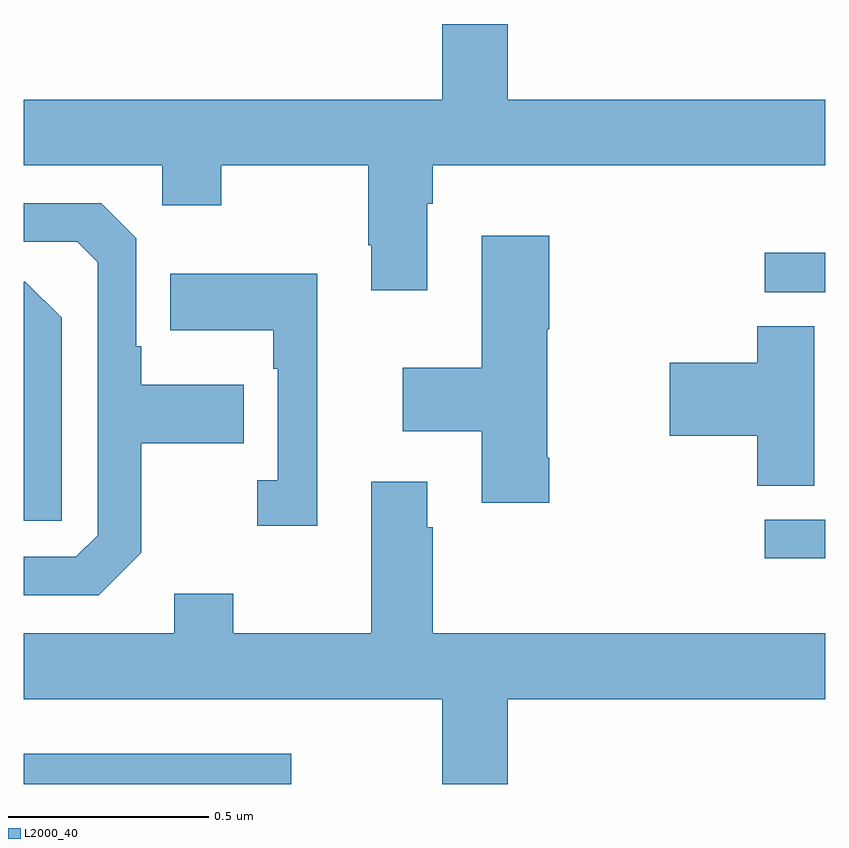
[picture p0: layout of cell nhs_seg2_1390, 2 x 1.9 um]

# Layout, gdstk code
import gdstk
lib = gdstk.Library(unit=1e-6, precision=1e-09)
def R(c, l, rs):  # rectangles x0, y0, x1, y1
    for r in rs: c.add(gdstk.rectangle(r[:2], r[2:], *l))
def P(c, l, *ps):  # polygons
    for p in ps: c.add(gdstk.Polygon(p, *l))
L2000_40 = (2000, 40)

nhs_seg2_1390 = lib.new_cell('nhs_seg2_1390')
R(nhs_seg2_1390, L2000_40, [(128,604.8,128.668,604.876), (129.849,605.364,130,605.46), (129.849,606.027,130,606.126)])
P(nhs_seg2_1390, L2000_40, [(129.007,606.248),(129.02,606.248),(129.02,606.344),(130,606.344),(130,606.508),(129.208,606.508),(129.208,606.697),(129.044,606.697),(129.044,606.508),(128,606.508),(128,606.344),(128.346,606.344),(128.346,606.245),(128.493,606.245),(128.493,606.344),(128.86,606.344),(128.86,606.145),(128.867,606.145),(128.867,606.033),(129.007,606.033)],
  [(128.293,605.377),(128.293,605.65),(128.549,605.65),(128.549,605.797),(128.293,605.797),(128.293,605.893),(128.28,605.893),(128.28,606.162),(128.193,606.249),(128,606.249),(128,606.153),(128.133,606.153),(128.184,606.102),(128.184,605.421),(128.13,605.367),(128,605.367),(128,605.271),(128.187,605.271)],
  [(129.311,605.614),(129.306,605.614),(129.306,605.935),(129.311,605.935),(129.311,606.169),(129.143,606.169),(129.143,605.839),(128.946,605.839),(128.946,605.681),(129.143,605.681),(129.143,605.502),(129.311,605.502)],
  [(128.732,606.073),(128.365,606.073),(128.365,605.933),(128.622,605.933),(128.622,605.837),(128.634,605.837),(128.634,605.558),(128.583,605.558),(128.583,605.445),(128.732,605.445)],
  [(128.094,605.964),(128.004,606.054),(128,606.054),(128,605.457),(128.094,605.457)],
  [(129.973,605.942),(129.83,605.942),(129.83,605.852),(129.612,605.852),(129.612,605.669),(129.83,605.669),(129.83,605.545),(129.973,605.545)],
  [(129.208,605.012),(130,605.012),(130,605.176),(129.02,605.176),(129.02,605.441),(129.007,605.441),(129.007,605.554),(128.867,605.554),(128.867,605.176),(128.523,605.176),(128.523,605.275),(128.375,605.275),(128.375,605.176),(128,605.176),(128,605.012),(129.044,605.012),(129.044,604.8),(129.208,604.8)])

lib.write_gds('nhs_seg2_1390.gds')
